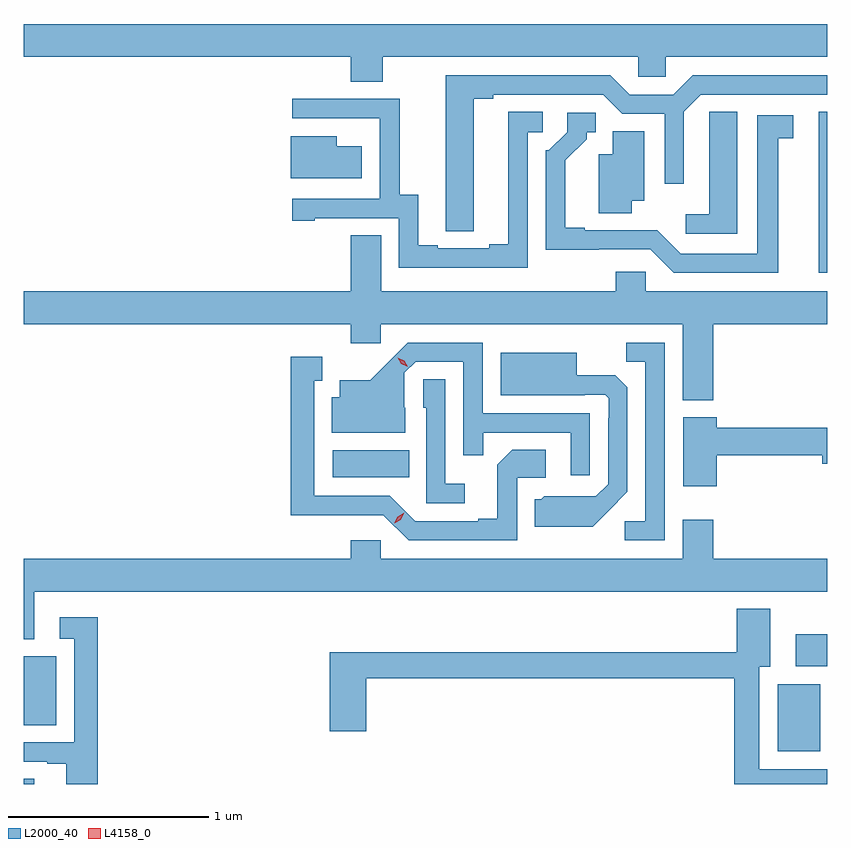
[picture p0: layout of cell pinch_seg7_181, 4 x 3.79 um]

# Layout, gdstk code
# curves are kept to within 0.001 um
import gdstk
lib = gdstk.Library(unit=1e-6, precision=1e-09)
def R(c, l, rs):  # rectangles x0, y0, x1, y1
    for r in rs: c.add(gdstk.rectangle(r[:2], r[2:], *l))
def P(c, l, *ps):  # polygons
    for p in ps: c.add(gdstk.Polygon(p, *l))
L2000_40 = (2000, 40)
L4158_0 = (4158, 0)

pinch_seg7_181 = lib.new_cell('pinch_seg7_181')
R(pinch_seg7_181, L2000_40, [(1115.08,1002.323,1115.131,1002.35), (1118.834,1002.485,1119.046,1002.82), (1115.08,1002.616,1115.242,1002.96), (1118.925,1002.909,1119.08,1003.069), (1116.618,1003.85,1116.998,1003.984), (1119.038,1004.868,1119.08,1005.67)])
P(pinch_seg7_181, L2000_40, [(1115.08,1005.944),(1116.707,1005.944),(1116.707,1005.82),(1116.867,1005.82),(1116.867,1005.944),(1118.139,1005.944),(1118.139,1005.846),(1118.277,1005.846),(1118.277,1005.944),(1119.08,1005.944),(1119.08,1006.108),(1115.08,1006.108)],
  [(1117.321,1005.736),(1117.417,1005.736),(1117.417,1005.756),(1117.965,1005.756),(1118.061,1005.66),(1118.271,1005.66),(1118.271,1005.312),(1118.367,1005.312),(1118.367,1005.672),(1118.451,1005.756),(1119.08,1005.756),(1119.08,1005.852),(1118.411,1005.852),(1118.315,1005.756),(1118.097,1005.756),(1118.001,1005.852),(1117.181,1005.852),(1117.182,1005.076),(1117.321,1005.076)],
  [(1117.59,1005.57),(1117.663,1005.57),(1117.663,1005.671),(1117.493,1005.671),(1117.493,1005.011),(1117.397,1005.011),(1117.397,1004.991),(1117.141,1004.991),(1117.141,1005.006),(1117.045,1005.006),(1117.045,1005.257),(1116.951,1005.257),(1116.951,1005.735),(1116.417,1005.735),(1116.417,1005.639),(1116.851,1005.639),(1116.851,1005.638),(1116.852,1005.638),(1116.852,1005.237),(1116.417,1005.237),(1116.417,1005.129),(1116.529,1005.129),(1116.529,1005.141),(1116.948,1005.141),(1116.948,1004.895),(1117.59,1004.895)],
  [(1118.632,1005.671),(1118.493,1005.671),(1118.493,1005.563),(1118.492,1005.563),(1118.492,1005.16),(1118.376,1005.16),(1118.376,1005.063),(1118.632,1005.063)],
  [(1118.836,1005.538),(1118.911,1005.538),(1118.911,1005.654),(1118.732,1005.654),(1118.732,1004.964),(1118.352,1004.964),(1118.234,1005.082),(1117.873,1005.081),(1117.873,1005.094),(1117.777,1005.094),(1117.777,1005.43),(1117.882,1005.535),(1117.882,1005.57),(1117.927,1005.57),(1117.927,1005.666),(1117.785,1005.666),(1117.785,1005.57),(1117.695,1005.48),(1117.68,1005.48),(1117.68,1004.984),(1118.199,1004.985),(1118.316,1004.868),(1118.836,1004.868)],
  [(1118.107,1005.227),(1118.17,1005.227),(1118.17,1005.575),(1118.012,1005.575),(1118.012,1005.46),(1117.943,1005.46),(1117.943,1005.166),(1118.107,1005.166)],
  [(1116.763,1005.499),(1116.637,1005.499),(1116.637,1005.55),(1116.41,1005.55),(1116.41,1005.341),(1116.763,1005.341)],
  [(1118.513,1004.612),(1119.08,1004.612),(1119.08,1004.776),(1118.178,1004.776),(1118.178,1004.874),(1118.027,1004.874),(1118.027,1004.776),(1116.859,1004.776),(1116.859,1005.056),(1116.707,1005.056),(1116.707,1004.776),(1115.08,1004.776),(1115.08,1004.612),(1116.707,1004.612),(1116.707,1004.517),(1116.858,1004.517),(1116.858,1004.612),(1118.36,1004.612),(1118.36,1004.234),(1118.513,1004.234)],
  [(1118.271,1004.52),(1118.08,1004.52),(1118.08,1004.425),(1118.175,1004.425),(1118.175,1003.632),(1118.073,1003.632),(1118.073,1003.536),(1118.271,1003.536)],
  [(1117.899,1004.169),(1117.365,1004.169),(1117.365,1004.52),(1116.992,1004.52),(1116.805,1004.335),(1116.653,1004.335),(1116.653,1004.248),(1116.614,1004.248),(1116.614,1004.072),(1116.979,1004.072),(1116.979,1004.196),(1116.975,1004.196),(1116.975,1004.37),(1117.032,1004.427),(1117.269,1004.427),(1117.269,1003.96),(1117.367,1003.96),(1117.367,1004.073),(1117.803,1004.073),(1117.803,1003.86),(1117.899,1003.86)],
  [(1117.993,1003.685),(1118.085,1003.778),(1118.085,1004.3),(1118.026,1004.359),(1117.834,1004.359),(1117.834,1004.47),(1117.454,1004.47),(1117.454,1004.258),(1117.874,1004.258),(1117.874,1004.262),(1117.974,1004.262),(1117.992,1004.244),(1117.992,1004.144),(1117.989,1004.144),(1117.989,1003.815),(1117.929,1003.755),(1117.672,1003.756),(1117.656,1003.74),(1117.625,1003.74),(1117.625,1003.604),(1117.913,1003.604)],
  [(1117.536,1003.848),(1117.678,1003.848),(1117.678,1003.988),(1117.513,1003.988),(1117.437,1003.912),(1117.437,1003.645),(1117.343,1003.645),(1117.343,1003.632),(1117.029,1003.632),(1116.903,1003.758),(1116.526,1003.758),(1116.526,1004.331),(1116.565,1004.331),(1116.565,1004.452),(1116.408,1004.452),(1116.408,1003.661),(1116.87,1003.662),(1116.996,1003.536),(1117.536,1003.536)],
  [(1117.276,1003.819),(1117.179,1003.819),(1117.179,1004.339),(1117.068,1004.339),(1117.068,1004.196),(1117.083,1004.196),(1117.083,1003.722),(1117.276,1003.722)],
  [(1118.53,1003.96),(1119.056,1003.96),(1119.056,1003.918),(1119.08,1003.918),(1119.08,1004.096),(1118.53,1004.096),(1118.53,1004.149),(1118.363,1004.149),(1118.363,1003.806),(1118.53,1003.806)],
  [(1118.36,1003.639),(1118.36,1003.444),(1116.858,1003.444),(1116.858,1003.537),(1116.707,1003.537),(1116.707,1003.444),(1115.08,1003.444),(1115.08,1003.045),(1115.131,1003.045),(1115.131,1003.28),(1119.08,1003.28),(1119.08,1003.444),(1118.513,1003.444),(1118.513,1003.639)],
  [(1119.08,1002.396),(1118.743,1002.396),(1118.743,1002.908),(1118.797,1002.908),(1118.797,1003.195),(1118.63,1003.195),(1118.63,1002.979),(1116.602,1002.979),(1116.602,1002.585),(1116.785,1002.585),(1116.785,1002.85),(1118.618,1002.85),(1118.618,1002.323),(1119.08,1002.323)],
  [(1115.447,1003.153),(1115.259,1003.153),(1115.259,1003.047),(1115.331,1003.047),(1115.331,1002.531),(1115.08,1002.531),(1115.08,1002.435),(1115.195,1002.435),(1115.195,1002.423),(1115.291,1002.423),(1115.291,1002.323),(1115.447,1002.323)])
P(pinch_seg7_181, L4158_0, [(1116.924,1003.622),(1116.924,1003.622),(1116.942,1003.654),(1116.974,1003.673),(1116.975,1003.673),(1116.975,1003.673),(1116.957,1003.64),(1116.925,1003.622)],
  [(1116.991,1004.402),(1116.96,1004.417),(1116.942,1004.447),(1116.942,1004.447),(1116.943,1004.447),(1116.974,1004.432),(1116.991,1004.402),(1116.991,1004.402)])

lib.write_gds('pinch_seg7_181.gds')
